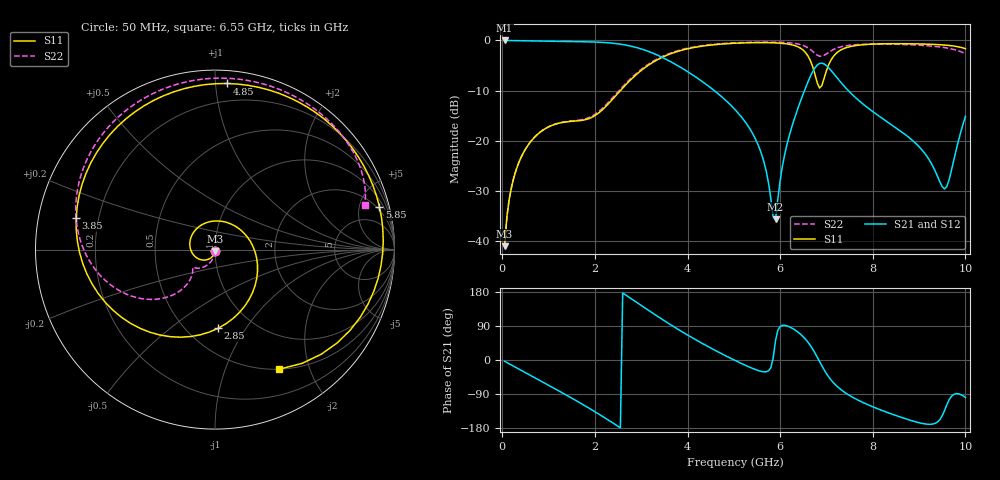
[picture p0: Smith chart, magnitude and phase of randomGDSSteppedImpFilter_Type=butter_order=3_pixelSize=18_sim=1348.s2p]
! freq	dB(S11)	phase(S11)	dB(S12)	phase(S12)
!  dB(S21)	phase(S21)	dB(S22)	phase(S22)
!S-par simulation data
#  GHz  S  DB  R 50
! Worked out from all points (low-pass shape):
!   200 points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, 50 MHz to 10 GHz, reference 50 ohm
!   highest |S21| = -0.01 dB at 50 MHz (marker M1); lowest = -35.6 dB at 5.9 GHz (marker M2)
!   |S21| within 3 dB of the highest: start of sweep to 3.369 GHz
!   lowest |S11| = -41.0 dB at 50 MHz (marker M3), VSWR 1.02, Z = 49.9 - j0.893 ohm
!   |S11| at or under -10 dB: start of sweep to 2.547 GHz
!   |S22| runs from -40.9 to -0.3 dB; largest |S21 - S12| = 0
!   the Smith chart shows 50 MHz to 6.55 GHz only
!   S11 on the Smith chart (normalised r, x): 50 MHz: 1.00, -0.02; 2.85 GHz: 0.70, -0.76; 3.85 GHz: 0.12, +0.11; 4.85 GHz: 0.08, +1.07; 5.85 GHz: 1.63, +7.47; 6.55 GHz: 0.50, -1.55
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0.05  -40.96 -93.2  -0.01 -3.4  -0.01 -3.4  -40.91 -90.9
0.2  -29.16 -107.3  -0.03 -13.4  -0.03 -13.4  -29.13 -98.6
0.5  -21.66 -135.0  -0.08 -33.4  -0.08 -33.4  -21.62 -112.5
1.75  -15.86 81.9  -0.27 -118.2  -0.27 -118.2  -15.70 -139.2
2.35  -12.02 -19.2  -0.52 -163.2  -0.52 -163.2  -11.74 -129.0
2.85  -7.16 -87.7  -1.30 156.4  -1.30 156.4  -6.93 -141.9
3.4  -3.60 -149.2  -3.14 111.5  -3.14 111.5  -3.43 -170.2
3.85  -2.02 167.2  -5.35 76.8  -5.35 76.8  -1.88 164.4
4.85  -0.65 86.0  -12.15 9.5  -12.15 9.5  -0.56 110.4
5.05  -0.55 71.5  -14.01 -2.6  -14.01 -2.6  -0.47 99.9
5.6  -0.44 32.7  -22.68 -30.3  -22.68 -30.3  -0.34 71.0
5.85  -0.48 14.6  -35.17 5.8  -35.17 5.8  -0.34 57.6
5.9  -0.49 10.8  -35.62 51.0  -35.62 51.0  -0.35 54.9
6.1  -0.64 -5.5  -22.62 91.4  -22.62 91.4  -0.41 43.7
6.55  -2.43 -61.9  -9.40 54.5  -9.40 54.5  -1.21 16.4
6.7  -5.15 -102.5  -6.26 29.3  -6.26 29.3  -2.17 8.8
6.85  -9.48 171.9  -4.59 -3.8  -4.59 -3.8  -3.14 8.6
7.05  -4.80 65.2  -5.47 -44.9  -5.47 -44.9  -2.35 9.0
7.45  -1.38 2.5  -9.78 -90.0  -9.78 -90.0  -1.02 -11.6
8.35  -0.65 -50.5  -16.44 -140.0  -16.44 -140.0  -0.74 -60.8
9.55  -0.92 -101.1  -29.57 -133.4  -29.57 -133.4  -1.43 -142.4
10  -1.65 -127.0  -15.14 -98.7  -15.14 -98.7  -2.65 155.1
